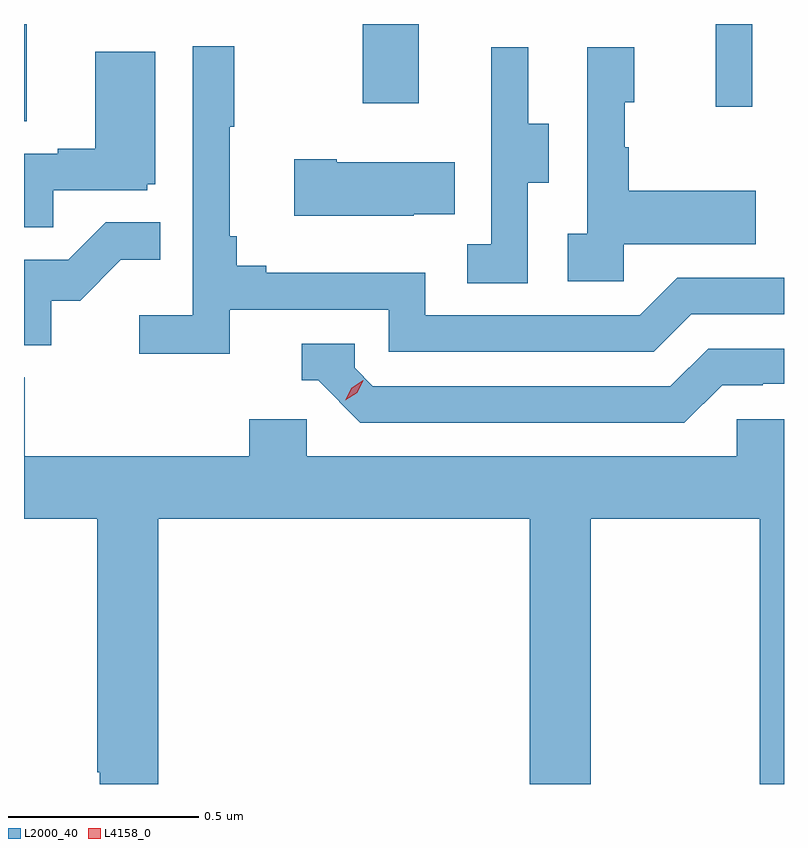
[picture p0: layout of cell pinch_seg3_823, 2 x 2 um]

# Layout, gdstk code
import gdstk
lib = gdstk.Library(unit=1e-6, precision=1e-09)
def R(c, l, rs):  # rectangles x0, y0, x1, y1
    for r in rs: c.add(gdstk.rectangle(r[:2], r[2:], *l))
def P(c, l, *ps):  # polygons
    for p in ps: c.add(gdstk.Polygon(p, *l))
L2000_40 = (2000, 40)
L4158_0 = (4158, 0)

pinch_seg3_823 = lib.new_cell('pinch_seg3_823')
R(pinch_seg3_823, L2000_40, [(869.118,709.954,869.125,710.21), (870.938,709.992,871.035,710.21), (870.01,710.001,870.157,710.21)])
P(pinch_seg3_823, L2000_40, [(869.66,709.458),(870.078,709.458),(870.078,709.347),(870.775,709.347),(870.874,709.446),(871.118,709.446),(871.118,709.542),(870.837,709.542),(870.738,709.443),(870.174,709.443),(870.174,709.555),(869.755,709.555),(869.755,709.574),(869.678,709.574),(869.678,709.651),(869.659,709.651),(869.659,709.939),(869.671,709.939),(869.671,710.152),(869.562,710.152),(869.562,709.444),(869.421,709.444),(869.421,709.342),(869.66,709.342)],
  [(870.444,709.792),(870.499,709.792),(870.499,709.947),(870.445,709.947),(870.445,710.149),(870.347,710.149),(870.347,709.935),(870.348,709.935),(870.348,709.631),(870.285,709.631),(870.285,709.528),(870.444,709.528)],
  [(870.696,709.631),(871.043,709.631),(871.043,709.771),(870.709,709.771),(870.709,709.886),(870.699,709.886),(870.699,710.004),(870.724,710.004),(870.724,710.149),(870.6,710.149),(870.6,709.658),(870.549,709.658),(870.549,709.533),(870.696,709.533)],
  [(869.195,709.773),(869.442,709.773),(869.442,709.788),(869.464,709.788),(869.464,710.137),(869.306,710.137),(869.306,709.882),(869.207,709.882),(869.207,709.869),(869.118,709.869),(869.118,709.675),(869.195,709.675)],
  [(870.143,709.709),(870.251,709.709),(870.251,709.846),(869.941,709.846),(869.941,709.854),(869.829,709.854),(869.829,709.706),(870.143,709.706)],
  [(869.19,709.482),(869.266,709.482),(869.373,709.589),(869.477,709.589),(869.477,709.688),(869.333,709.688),(869.235,709.59),(869.118,709.59),(869.118,709.365),(869.19,709.365)],
  [(870.955,709.26),(871.062,709.26),(871.062,709.263),(871.118,709.263),(871.118,709.356),(870.918,709.356),(870.819,709.257),(870.036,709.257),(869.988,709.305),(869.988,709.368),(869.849,709.368),(869.849,709.272),(869.892,709.272),(870.003,709.161),(870.856,709.161)],
  [(869.471,708.908),(870.449,708.908),(870.449,708.21),(870.609,708.21),(870.609,708.908),(871.054,708.908),(871.054,708.21),(871.118,708.21),(871.118,709.17),(870.993,709.17),(870.993,709.072),(869.862,709.072),(869.862,709.17),(869.711,709.17),(869.711,709.072),(869.12,709.072),(869.12,709.28),(869.118,709.28),(869.118,708.908),(869.311,708.908),(869.311,708.241),(869.317,708.241),(869.317,708.21),(869.471,708.21)])
P(pinch_seg3_823, L4158_0, [(869.963,709.22),(869.963,709.22),(869.98,709.253),(870.011,709.272),(870.011,709.272),(870.011,709.272),(869.995,709.239),(869.964,709.22)])

lib.write_gds('pinch_seg3_823.gds')
